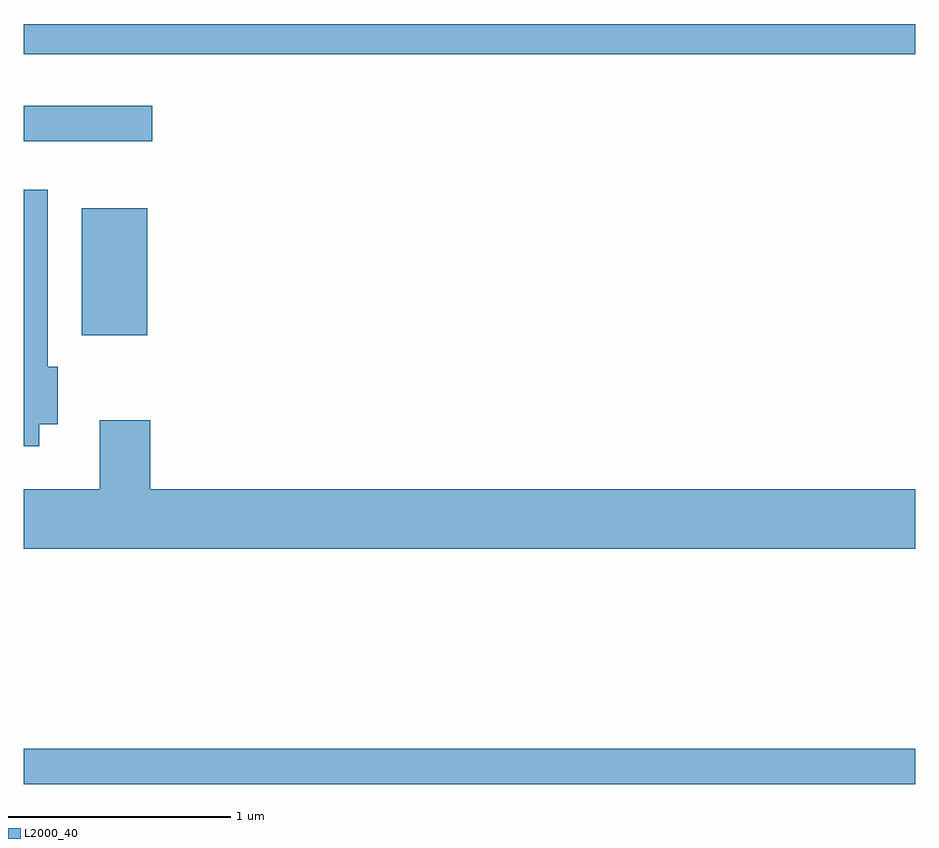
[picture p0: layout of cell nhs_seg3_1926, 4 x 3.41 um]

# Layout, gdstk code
import gdstk
lib = gdstk.Library(unit=1e-6, precision=1e-09)
def R(c, l, rs):  # rectangles x0, y0, x1, y1
    for r in rs: c.add(gdstk.rectangle(r[:2], r[2:], *l))
def P(c, l, *ps):  # polygons
    for p in ps: c.add(gdstk.Polygon(p, *l))
L2000_40 = (2000, 40)

nhs_seg3_1926 = lib.new_cell('nhs_seg3_1926')
R(nhs_seg3_1926, L2000_40, [(241.611,1160.481,245.611,1160.639), (241.871,1162.496,242.164,1163.064), (241.611,1163.366,242.188,1163.524), (241.611,1163.756,245.611,1163.892)])
P(nhs_seg3_1926, L2000_40, [(241.679,1162.096),(241.764,1162.096),(241.764,1162.354),(241.719,1162.354),(241.719,1163.149),(241.611,1163.149),(241.611,1161.996),(241.679,1161.996)],
  [(245.611,1161.804),(242.179,1161.804),(242.179,1162.114),(241.951,1162.114),(241.951,1161.804),(241.611,1161.804),(241.611,1161.536),(245.611,1161.536)])

lib.write_gds('nhs_seg3_1926.gds')
